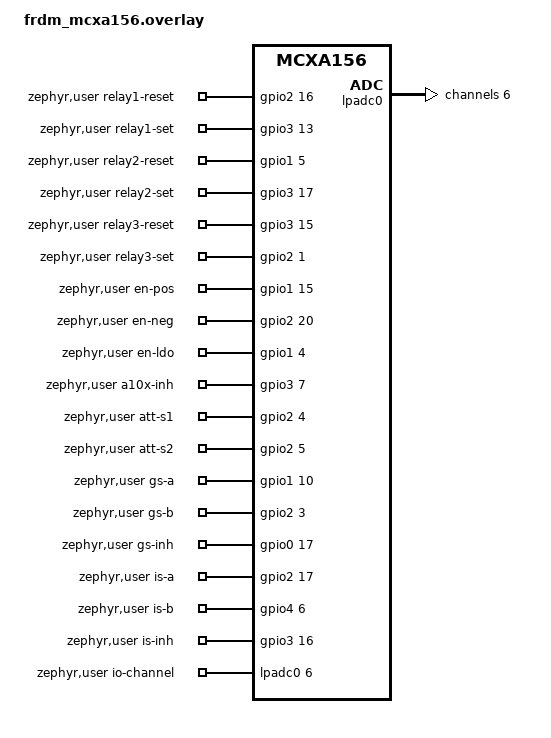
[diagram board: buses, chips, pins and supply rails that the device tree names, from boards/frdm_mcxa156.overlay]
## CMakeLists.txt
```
# SPDX-License-Identifier: Apache-2.0

cmake_minimum_required(VERSION 3.20.0)

find_package(Zephyr REQUIRED HINTS $ENV{ZEPHYR_BASE})
project(tin-snipe-afe)

target_sources(app PRIVATE src/main.c)
```

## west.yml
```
# Copyright (c) 2021 Nordic Semiconductor ASA
# SPDX-License-Identifier: Apache-2.0

manifest:
  self:
    west-commands: scripts/west-commands.yml
    path: application

  remotes:
    - name: zephyrproject-rtos
      url-base: https://github.com/zephyrproject-rtos

  projects:
    - name: zephyr
      remote: zephyrproject-rtos
      revision: v4.2.1
      import:
        name-allowlist:
          - mcuboot
          - mbedtls
          - trusted-firmware-m
          - open-amp
          - libmetal
          - cmsis
          - cmsis_6
          - tinycbor
          - zcbor
          - oberon-psa-crypto
          - segger
          - fatfs
          - cmsis_6
          - hal_nxp 
```

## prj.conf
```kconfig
CONFIG_ADC=y
CONFIG_ASSERT=y
```

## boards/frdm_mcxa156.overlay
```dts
/*
 * Copyright 2024 NXP
 *
 * SPDX-License-Identifier: Apache-2.0
 */

#include <zephyr/dt-bindings/adc/adc.h>
#include <zephyr/dt-bindings/adc/mcux-lpadc.h>
#include <nxp/mcx/MCXA156VLL-pinctrl.h>


/ {
	zephyr,user {
		/* adjust channel number according to pinmux in board.dts */
		io-channels = <&lpadc0 6>;
		relay1-reset-gpios = <&gpio2 16 GPIO_ACTIVE_HIGH>;
		relay1-set-gpios = <&gpio3 13 GPIO_ACTIVE_HIGH>;
		relay2-reset-gpios = <&gpio1 5 GPIO_ACTIVE_HIGH>;
		relay2-set-gpios = <&gpio3 17 GPIO_ACTIVE_HIGH>;
		relay3-reset-gpios = <&gpio3 15 GPIO_ACTIVE_HIGH>;
		relay3-set-gpios = <&gpio2 1 GPIO_ACTIVE_HIGH>;
		en-pos-gpios = <&gpio1 15 GPIO_ACTIVE_HIGH>;
		en-neg-gpios = <&gpio2 20 GPIO_ACTIVE_HIGH>;
		en-ldo-gpios = <&gpio1 4 GPIO_ACTIVE_HIGH>;
		a10x-inh-gpios = <&gpio3 7 GPIO_ACTIVE_HIGH>;
		att-s1-gpios = <&gpio2 4 GPIO_ACTIVE_HIGH>;
		att-s2-gpios = <&gpio2 5 GPIO_ACTIVE_HIGH>;
		gs-a-gpios = <&gpio1 10 GPIO_ACTIVE_HIGH>;
		gs-b-gpios = <&gpio2 3 GPIO_ACTIVE_HIGH>;
		gs-inh-gpios = <&gpio0 17 GPIO_ACTIVE_HIGH>;
		is-a-gpios = <&gpio2 17 GPIO_ACTIVE_HIGH>;
		is-b-gpios = <&gpio4 6 GPIO_ACTIVE_HIGH>;
		is-inh-gpios = <&gpio3 16 GPIO_ACTIVE_HIGH>;
	};
};

&lpadc0 {
	#address-cells = <1>;
	#size-cells = <0>;
	pinctrl-0 = <&pinmux_lpadc0_custom>;

	// needs to match NXP channel number so ADC0_A6_P2_16 -> channel 6, irrespective of ADC0 or ADC1
	channel@6 {
		reg = <6>;
		zephyr,gain = "ADC_GAIN_1";
		zephyr,reference = "ADC_REF_EXTERNAL0";
		zephyr,vref-mv = <3300>;
		zephyr,acquisition-time = <ADC_ACQ_TIME_DEFAULT>;
		zephyr,resolution = <16>;
		zephyr,input-positive = <MCUX_LPADC_CH6A>;
	};
};

// Something is broken here, as soon as lpadc1 is enabled it causes a crash
// &lpadc1 {
// 	status = "okay";
// 	pinctrl-0 = <&pinmux_lpadc1>;
// 	pinctrl-names = "default";
	
// 	channel@8 {
// 		reg = <8>;
// 		zephyr,gain = "ADC_GAIN_1";
// 		zephyr,reference = "ADC_REF_EXTERNAL0";
// 		zephyr,vref-mv = <3300>;
// 		zephyr,acquisition-time = <ADC_ACQ_TIME_DEFAULT>;
// 		zephyr,resolution = <16>;
// 		zephyr,input-positive = <MCUX_LPADC_CH8B>;
// 	};
// };

&pinctrl {

	// distinct name from the board default pinmux group
	pinmux_lpadc0_custom: pinmux_lpadc0_custom {
		group0 {
			pinmux = <ADC0_A1_P2_1>,
					<ADC0_A6_P2_16>;
			slew-rate = "fast";
			drive-strength = "low";
		};
	};

	pinmux_lpadc1: pinmux_lpadc1 {
		group0 {
			pinmux = <ADC1_A8_P1_10>,
					<ADC1_A1_P2_5>;
			slew-rate = "fast";
			drive-strength = "low";
		};
	};
};
```

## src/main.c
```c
#include <inttypes.h>
#include <stddef.h>
#include <stdint.h>

#include <zephyr/device.h>
#include <zephyr/devicetree.h>
#include <zephyr/drivers/adc.h>
#include <zephyr/kernel.h>
#include <zephyr/sys/printk.h>
#include <zephyr/sys/util.h>
#include <zephyr/drivers/gpio.h>

#if !DT_NODE_EXISTS(DT_PATH(zephyr_user)) || \
	!DT_NODE_HAS_PROP(DT_PATH(zephyr_user), io_channels)
#error "No suitable devicetree overlay specified"
#endif

#define ZEPHYR_USER_NODE DT_PATH(zephyr_user)

#define DT_SPEC_AND_COMMA(node_id, prop, idx) \
	ADC_DT_SPEC_GET_BY_IDX(node_id, idx),

/* Data of ADC io-channels specified in devicetree. */
static const struct adc_dt_spec adc_channels[] = {
	DT_FOREACH_PROP_ELEM(DT_PATH(zephyr_user), io_channels,
			     DT_SPEC_AND_COMMA)
};

const struct gpio_dt_spec relay1_reset = GPIO_DT_SPEC_GET(ZEPHYR_USER_NODE, relay1_reset_gpios);
const struct gpio_dt_spec relay1_set = GPIO_DT_SPEC_GET(ZEPHYR_USER_NODE, relay1_set_gpios);
const struct gpio_dt_spec relay2_reset = GPIO_DT_SPEC_GET(ZEPHYR_USER_NODE, relay2_reset_gpios);
const struct gpio_dt_spec relay2_set = GPIO_DT_SPEC_GET(ZEPHYR_USER_NODE, relay2_set_gpios);
const struct gpio_dt_spec relay3_reset = GPIO_DT_SPEC_GET(ZEPHYR_USER_NODE, relay3_reset_gpios);
const struct gpio_dt_spec relay3_set = GPIO_DT_SPEC_GET(ZEPHYR_USER_NODE, relay3_set_gpios);

const struct gpio_dt_spec en_pos = GPIO_DT_SPEC_GET(ZEPHYR_USER_NODE, en_pos_gpios);
const struct gpio_dt_spec en_neg = GPIO_DT_SPEC_GET(ZEPHYR_USER_NODE, en_neg_gpios);
const struct gpio_dt_spec en_ldo = GPIO_DT_SPEC_GET(ZEPHYR_USER_NODE, en_ldo_gpios);

const struct gpio_dt_spec a10x_inh = GPIO_DT_SPEC_GET(ZEPHYR_USER_NODE, a10x_inh_gpios);
const struct gpio_dt_spec att_s1 = GPIO_DT_SPEC_GET(ZEPHYR_USER_NODE, att_s1_gpios);
const struct gpio_dt_spec att_s2 = GPIO_DT_SPEC_GET(ZEPHYR_USER_NODE, att_s2_gpios);

const struct gpio_dt_spec gs_a = GPIO_DT_SPEC_GET(ZEPHYR_USER_NODE, gs_a_gpios);
const struct gpio_dt_spec gs_b = GPIO_DT_SPEC_GET(ZEPHYR_USER_NODE, gs_b_gpios);
const struct gpio_dt_spec gs_inh = GPIO_DT_SPEC_GET(ZEPHYR_USER_NODE, gs_inh_gpios);

const struct gpio_dt_spec is_a = GPIO_DT_SPEC_GET(ZEPHYR_USER_NODE, is_a_gpios);
const struct gpio_dt_spec is_b = GPIO_DT_SPEC_GET(ZEPHYR_USER_NODE, is_b_gpios);
const struct gpio_dt_spec is_inh = GPIO_DT_SPEC_GET(ZEPHYR_USER_NODE, is_inh_gpios);


int main(void)
{
	int err;
	uint32_t count = 0;
	uint16_t buf;
	struct adc_sequence sequence = {
		.buffer = &buf,
		/* buffer size in bytes, not number of samples */
		.buffer_size = sizeof(buf),
	};
	printk("ADC sample application\n");
	/* Configure channels individually prior to sampling. */
	for (size_t i = 0U; i < ARRAY_SIZE(adc_channels); i++) {
		if (!adc_is_ready_dt(&adc_channels[i])) {
			printk("ADC controller device %s not ready\n", adc_channels[i].dev->name);
			return 0;
		}

		err = adc_channel_setup_dt(&adc_channels[i]);
		if (err < 0) {
			printk("Could not setup channel #%d (%d)\n", i, err);
			return 0;
		}
	}

	// ensure all relay drivers are off
	gpio_pin_configure_dt(&relay1_reset, GPIO_OUTPUT_INACTIVE);
	gpio_pin_configure_dt(&relay1_set, GPIO_OUTPUT_INACTIVE);
	gpio_pin_configure_dt(&relay2_reset, GPIO_OUTPUT_INACTIVE);
	gpio_pin_configure_dt(&relay2_set, GPIO_OUTPUT_INACTIVE);
	gpio_pin_configure_dt(&relay3_reset, GPIO_OUTPUT_INACTIVE);
	gpio_pin_configure_dt(&relay3_set, GPIO_OUTPUT_INACTIVE);

	// analog switches default states
	gpio_pin_configure_dt(&a10x_inh, GPIO_OUTPUT_INACTIVE);
	gpio_pin_configure_dt(&att_s1, GPIO_OUTPUT_INACTIVE); // s1 and s1 = 0 for no attenuation, 1,1 for 10x attenuation
	gpio_pin_configure_dt(&att_s2, GPIO_OUTPUT_INACTIVE);

	gpio_pin_configure_dt(&gs_inh, GPIO_OUTPUT_INACTIVE);
	gpio_pin_configure_dt(&gs_a, GPIO_OUTPUT_INACTIVE); // 0, 0 for gain 1
	gpio_pin_configure_dt(&gs_b, GPIO_OUTPUT_INACTIVE);

	// voltage regulators have weak pull-ups, on by default
	gpio_pin_configure_dt(&en_pos, GPIO_OUTPUT_ACTIVE);
	gpio_pin_configure_dt(&en_neg, GPIO_OUTPUT_ACTIVE);
	gpio_pin_configure_dt(&en_ldo, GPIO_OUTPUT_ACTIVE);

	while (1) {

		printk("ADC reading[%u]:\n", count++);
		for (size_t i = 0U; i < ARRAY_SIZE(adc_channels); i++) {
			int32_t val_mv;

			printk("- %s, channel %d: ",
			       adc_channels[i].dev->name,
			       adc_channels[i].channel_id);

			(void)adc_sequence_init_dt(&adc_channels[i], &sequence);

			err = adc_read_dt(&adc_channels[i], &sequence);
			if (err < 0) {
				printk("Could not read (%d)\n", err);
				continue;
			}

			/*
			 * If using differential mode, the 16 bit value
			 * in the ADC sample buffer should be a signed 2's
			 * complement value.
			 */
			if (adc_channels[i].channel_cfg.differential) {
				val_mv = (int32_t)((int16_t)buf);
			} else {
				val_mv = (int32_t)buf;
			}
			printk("%"PRId32, val_mv);
			err = adc_raw_to_millivolts_dt(&adc_channels[i],
						       &val_mv);
			/* conversion to mV may not be supported, skip if not */
			if (err < 0) {
				printk(" (value in mV not available)\n");
			} else {
				printk(" = %"PRId32" mV\n", val_mv);
			}
		}

		k_sleep(K_MSEC(1000));
	}
	return 0;
}
```
